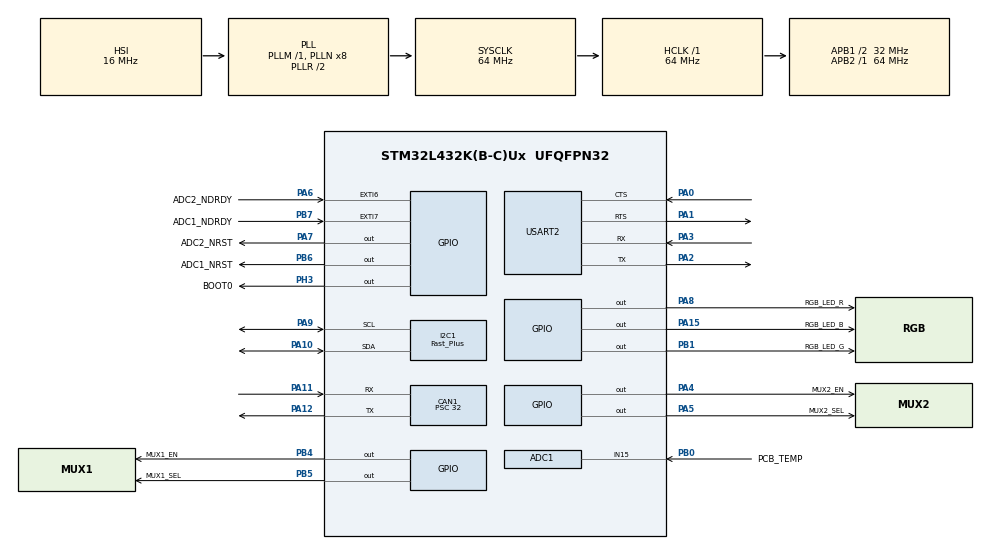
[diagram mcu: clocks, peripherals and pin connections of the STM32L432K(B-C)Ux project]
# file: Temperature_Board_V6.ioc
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ADC1.Channel-0\#ChannelRegularConversion=ADC_CHANNEL_15
ADC1.Channel-1\#ChannelRegularConversion=ADC_CHANNEL_VREFINT
ADC1.ClockPrescaler=ADC_CLOCK_ASYNC_DIV16
ADC1.ContinuousConvMode=DISABLE
ADC1.NbrOfConversion=2
ADC1.NbrOfConversionFlag=1
ADC1.OffsetNumber-0\#ChannelRegularConversion=ADC_OFFSET_NONE
ADC1.OffsetNumber-1\#ChannelRegularConversion=ADC_OFFSET_NONE
ADC1.Rank-0\#ChannelRegularConversion=1
ADC1.Rank-1\#ChannelRegularConversion=2
ADC1.Resolution=ADC_RESOLUTION_12B
ADC1.SamplingTime-0\#ChannelRegularConversion=ADC_SAMPLETIME_640CYCLES_5
ADC1.SamplingTime-1\#ChannelRegularConversion=ADC_SAMPLETIME_640CYCLES_5
ADC1.master=1
CAN1.ABOM=ENABLE
CAN1.AWUM=ENABLE
CAN1.BS1=CAN_BS1_5TQ
CAN1.BS2=CAN_BS2_2TQ
CAN1.CalculateBaudRate=125000
CAN1.CalculateTimeBit=8000
CAN1.CalculateTimeQuantum=1000.0
CAN1.Mode=CAN_MODE_NORMAL
CAN1.NART=ENABLE
CAN1.Prescaler=32
CAN1.RFLM=ENABLE
CAN1.TTCM=ENABLE
CAN1.TXFP=ENABLE
Dma.ADC1.0.Direction=DMA_PERIPH_TO_MEMORY
Dma.ADC1.0.Instance=DMA1_Channel1
Dma.ADC1.0.MemDataAlignment=DMA_MDATAALIGN_HALFWORD
Dma.ADC1.0.MemInc=DMA_MINC_ENABLE
Dma.ADC1.0.Mode=DMA_NORMAL
Dma.ADC1.0.PeriphDataAlignment=DMA_PDATAALIGN_HALFWORD
Dma.ADC1.0.PeriphInc=DMA_PINC_DISABLE
Dma.ADC1.0.Priority=DMA_PRIORITY_VERY_HIGH
Dma.Request0=ADC1
I2C1.Analog_Filter=I2C_ANALOGFILTER_DISABLE
I2C1.CustomTiming=Disabled
I2C1.GeneralCallMode=I2C_GENERALCALL_ENABLE
I2C1.I2C_Fall_Time=50
I2C1.I2C_Rise_Time=50
I2C1.I2C_Speed_Mode=I2C_Fast_Plus
I2C1.Speed=150
I2C1.Timing=0x00300CC0
Mcu.Family=STM32L4
Mcu.Name=STM32L432K(B-C)Ux
Mcu.Package=UFQFPN32
NVIC.ADC1_IRQn=true\:0\:0\:false\:false\:true\:true\:true\:true
NVIC.DMA1_Channel1_IRQn=true\:0\:0\:false\:false\:true\:false\:true\:true
NVIC.EXTI9_5_IRQn=true\:0\:0\:false\:false\:true\:true\:true\:true
NVIC.PriorityGroup=NVIC_PRIORITYGROUP_4
NVIC.TIM1_UP_TIM16_IRQn=true\:0\:0\:false\:false\:true\:true\:true\:true
PA0.Mode=CTS_RTS
PA0.Signal=USART2_CTS
PA1.Mode=CTS_RTS
PA1.Signal=USART2_RTS
PA10.Mode=I2C
PA10.Signal=I2C1_SDA
PA11.Mode=CAN_Activate
PA11.Signal=CAN1_RX
PA12.Mode=CAN_Activate
PA12.Signal=CAN1_TX
PA13\ (JTMS-SWDIO).GPIO_Label=SWDIO
PA13\ (JTMS-SWDIO).Mode=Trace_Asynchronous_SW
PA13\ (JTMS-SWDIO).Signal=SYS_JTMS-SWDIO
PA14\ (JTCK-SWCLK).GPIO_Label=SWCLK
PA14\ (JTCK-SWCLK).Mode=Trace_Asynchronous_SW
PA14\ (JTCK-SWCLK).Signal=SYS_JTCK-SWCLK
PA15\ (JTDI).GPIO_Label=RGB_LED_B
PA15\ (JTDI).PinState=GPIO_PIN_SET
PA15\ (JTDI).Signal=GPIO_Output
PA2.Mode=Asynchronous
PA2.Signal=USART2_TX
PA3.Mode=Asynchronous
PA3.Signal=USART2_RX
PA4.GPIO_Label=MUX2_EN
PA4.Signal=GPIO_Output
PA5.GPIO_Label=MUX2_SEL
PA5.Signal=GPIO_Output
PA6.GPIO_Label=ADC2_NDRDY
PA6.Signal=GPXTI6
PA7.GPIO_Label=ADC2_NRST
PA7.Signal=GPIO_Output
PA8.GPIO_Label=RGB_LED_R
PA8.PinState=GPIO_PIN_SET
PA8.Signal=GPIO_Output
PA9.Mode=I2C
PA9.Signal=I2C1_SCL
PB0.GPIO_Label=PCB_TEMP
PB0.Signal=ADCx_IN15
PB1.GPIO_Label=RGB_LED_G
PB1.PinState=GPIO_PIN_SET
PB1.Signal=GPIO_Output
PB3\ (JTDO-TRACESWO).GPIO_Label=TRACE_SWO
PB3\ (JTDO-TRACESWO).Mode=Trace_Asynchronous_SW
PB3\ (JTDO-TRACESWO).Signal=SYS_JTDO-SWO
PB4\ (NJTRST).GPIO_Label=MUX1_EN
PB4\ (NJTRST).Signal=GPIO_Output
PB5.GPIO_Label=MUX1_SEL
PB5.Signal=GPIO_Output
PB6.GPIO_Label=ADC1_NRST
PB6.Signal=GPIO_Output
PB7.GPIO_Label=ADC1_NDRDY
PB7.Signal=GPXTI7
PH3-BOOT0.GPIO_Label=BOOT0
PH3-BOOT0.Signal=GPIO_Output
ProjectManager.HeapSize=0x200
ProjectManager.StackSize=0x400
ProjectManager.TargetToolchain=STM32CubeIDE
RCC.ADCFreq_Value=64000000
RCC.AHBFreq_Value=64000000
RCC.APB1CLKDivider=RCC_HCLK_DIV2
RCC.APB1Freq_Value=32000000
RCC.APB1TimFreq_Value=64000000
RCC.APB2Freq_Value=64000000
RCC.APB2TimFreq_Value=64000000
RCC.CortexFreq_Value=64000000
RCC.HCLKFreq_Value=64000000
RCC.HSE_VALUE=8000000
RCC.HSI48_VALUE=48000000
RCC.HSI_VALUE=16000000
RCC.LSE_VALUE=32768
RCC.MSI_VALUE=4000000
RCC.PLLSourceVirtual=RCC_PLLSOURCE_HSI
RCC.SYSCLKFreq_VALUE=64000000
RCC.SYSCLKSource=RCC_SYSCLKSOURCE_PLLCLK
RCC.USBFreq_Value=64000000
RCC.VCOOutputFreq_Value=128000000
SH.ADCx_IN15.0=ADC1_IN15,IN15-Single-Ended
TIM1.Period=100 - 1
TIM1.Prescaler=64 - 1
USART2.VirtualMode-Asynchronous=VM_ASYNC
VP_ADC1_Vref_Input.Mode=IN-Vrefint
VP_TIM1_VS_ClockSourceINT.Mode=Internal
board=custom

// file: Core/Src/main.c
/* USER CODE BEGIN Header */
/**
 ******************************************************************************
 * @file           : main.c
 * @brief          : Main program body
 ******************************************************************************
 * @attention
 *
 * Copyright (c) 2023 STMicroelectronics.
 * All rights reserved.
 *
 * This software is licensed under terms that can be found in the LICENSE file
 * in the root directory of this software component.
 * If no LICENSE file comes with this software, it is provided AS-IS.
 *
 ******************************************************************************
 */
/* USER CODE END Header */
#include "main.h"

/* USER CODE BEGIN Includes */
#include "functions.h"
#include "constants.h"

#include "string.h"// For memset()

/* USER CODE END Includes */

ADC_HandleTypeDef hadc1;
DMA_HandleTypeDef hdma_adc1;

CAN_HandleTypeDef hcan1;

I2C_HandleTypeDef hi2c1;

TIM_HandleTypeDef htim1;

UART_HandleTypeDef huart2;

/* USER CODE BEGIN PV */

bool adc_error_flag = false;
bool tim_elapsed_flag = false;

CAN_TxHeaderTypeDef ptxHeader_temp_1_4;     // Temperature 1 - 4 header
CAN_TxHeaderTypeDef ptxHeader_temp_5_8;     // Temperature 5 - 8 header
CAN_TxHeaderTypeDef ptxHeader_temp_9_12;    // Temperature 9 - 12 header
CAN_TxHeaderTypeDef ptxHeader_temp_13_16;   // Temperature 13 - 16 header

uint8_t sortingIndexArray[16] = {0, 2, 5, 7, 1, 3, 4, 6, 8, 10, 13, 15, 9, 11, 12, 14};
uint8_t payload_temp_1_4[8] = { 0 };
uint8_t payload_temp_5_8[8] = { 0 };
uint8_t payload_temp_9_12[8] = { 0 };
uint8_t payload_temp_13_16[8] = { 0 };

uint32_t txMailbox;

// Temperature chart data
float tempData[141] = { 0.0, 0.5, 1.0, 1.5, 2.0, 2.5, 3.0, 3.5, 4.0, 4.5, 5.0,
		5.5, 6.0, 6.5, 7.0, 7.5, 8.0, 8.5, 9.0, 9.5, 10.0, 10.5, 11.0, 11.5,
		12.0, 12.5, 13.0, 13.5, 14.0, 14.5, 15.0, 15.5, 16.0, 16.5, 17.0, 17.5,
		18.0, 18.5, 19.0, 19.5, 20.0, 20.5, 21.0, 21.5, 22.0, 22.5, 23.0, 23.5,
		24.0, 24.5, 25.0, 25.5, 26.0, 26.5, 27.0, 27.5, 28.0, 28.5, 29.0, 29.5,
		30.0, 30.5, 31.0, 31.5, 32.0, 32.5, 33.0, 33.5, 34.0, 34.5, 35.0, 35.5,
		36.0, 36.5, 37.0, 37.5, 38.0, 38.5, 39.0, 39.5, 40.0, 40.5, 41.0, 41.5,
		42.0, 42.5, 43.0, 43.5, 44.0, 44.5, 45.0, 45.5, 46.0, 46.5, 47.0, 47.5,
		48.0, 48.5, 49.0, 49.5, 50.0, 50.5, 51.0, 51.5, 52.0, 52.5, 53.0, 53.5,
		54.0, 54.5, 55.0, 55.5, 56.0, 56.5, 57.0, 57.5, 58.0, 58.5, 59.0, 59.5,
		60.0, 60.5, 61.0, 61.5, 62.0, 62.5, 63.0, 63.5, 64.0, 64.5, 65.0, 65.5,
		66.0, 66.5, 67.0, 67.5, 68.0, 68.5, 69.0, 69.5, 70.0 };

float voltData[141] = { 0.096808f, 0.127701f, 0.158988f, 0.190666f, 0.222730f,
		0.255293f, 0.287996f, 0.321190f, 0.354751f, 0.388675f, 0.422955f,
		0.457586f, 0.492562f, 0.527876f, 0.563524f, 0.599496f, 0.635788f,
		0.672391f, 0.709298f, 0.746502f, 0.783994f, 0.821767f, 0.859812f,
		0.898121f, 0.936685f, 0.975495f, 1.014543f, 1.053818f, 1.093311f,
		1.133013f, 1.172914f, 1.213005f, 1.253275f, 1.293714f, 1.334313f,
		1.375060f, 1.415946f, 1.456960f, 1.498092f, 1.539331f, 1.580667f,
		1.622089f, 1.663586f, 1.705148f, 1.746765f, 1.788425f, 1.830119f,
		1.871835f, 1.913563f, 1.955294f, 1.997016f, 2.038719f, 2.080393f,
		2.122029f, 2.163615f, 2.205143f, 2.246604f, 2.287983f, 2.329276f,
		2.370487f, 2.411563f, 2.452539f, 2.493391f, 2.534110f, 2.574688f,
		2.615117f, 2.655388f, 2.695494f, 2.735426f, 2.775178f, 2.814742f,
		2.854111f, 2.893278f, 2.932235f, 2.970978f, 3.009499f, 3.047792f,
		3.085852f, 3.123673f, 3.161249f, 3.198575f, 3.235647f, 3.272459f,
		3.309007f, 3.345287f, 3.381294f, 3.417038f, 3.452475f, 3.487642f,
		3.522522f, 3.557112f, 3.591409f, 3.625411f, 3.659114f, 3.692518f,
		3.725619f, 3.758415f, 3.790906f, 3.823093f, 3.854963f, 3.886527f,
		3.917780f, 3.948721f, 3.979349f, 4.009664f, 4.039664f, 4.069351f,
		4.098724f, 4.127783f, 4.156528f, 4.184960f, 4.213077f, 4.240882f,
		4.268375f, 4.295557f, 4.322429f, 4.348991f, 4.375246f, 4.401193f,
		4.426834f, 4.452171f, 4.477216f, 4.501938f, 4.526371f, 4.550505f,
		4.574344f, 4.597887f, 4.621137f, 4.644097f, 4.666817f, 4.689153f,
		4.711253f, 4.733069f, 4.754604f, 4.775860f, 4.796837f, 4.817535f,
		4.837954f, 4.858086f, 4.877918f, 4.897422f };

float volt[16] = { 0 };

float oversamplingVoltages[ADC_OVERSAMPLING] = { 0 };
uint8_t oversampligStatus[ADC_OVERSAMPLING] = { 0 };

float oversamplingSum = 0.0f;
float temp[16] = { 0 };
uint16_t sortedTemp[16] = {0};

uint8_t tempChannelError[16] = { 0 }; //Array to store temperature errors (OK, UNDERVOLTAGE, OVERVOLTAGE)
uint8_t sizeVoltData = sizeof(voltData) / sizeof(voltData[0]);
uint8_t sizeTempData = sizeof(tempData) / sizeof(tempData[0]);

uint8_t ind = 0;

/* USER CODE END PV */

void SystemClock_Config(void);
static void MX_GPIO_Init(void);
static void MX_DMA_Init(void);
static void MX_I2C1_Init(void);
static void MX_USART2_UART_Init(void);
static void MX_ADC1_Init(void);
static void MX_CAN1_Init(void);
static void MX_TIM1_Init(void);

int main(void)
{

  /* MCU Configuration--------------------------------------------------------*/

  /* Reset of all peripherals, Initializes the Flash interface and the Systick. */
  HAL_Init();

  /* Configure the system clock */
  SystemClock_Config();

  /* Initialize all configured peripherals */
  MX_GPIO_Init();
  MX_DMA_Init();
  MX_I2C1_Init();
  MX_USART2_UART_Init();
  MX_ADC1_Init();
  MX_CAN1_Init();
  MX_TIM1_Init();
  /* USER CODE BEGIN 2 */

	// Start CAN Bus communication
	if (HAL_CAN_Start(&hcan1) != HAL_OK) {
		/* Start Error */
		Error_Handler();
	}

	// External ADC Setup
	// Set ADCs in reset mode
	HAL_GPIO_WritePin(ADC1_NRST_GPIO_Port, ADC1_NRST_Pin, GPIO_PIN_RESET);
	HAL_GPIO_WritePin(ADC2_NRST_GPIO_Port, ADC2_NRST_Pin, GPIO_PIN_RESET);
	HAL_Delay(25);

	// Set ADCs in NOT reset mode
	HAL_GPIO_WritePin(ADC1_NRST_GPIO_Port, ADC1_NRST_Pin, GPIO_PIN_SET);
	HAL_GPIO_WritePin(ADC2_NRST_GPIO_Port, ADC2_NRST_Pin, GPIO_PIN_SET);
	HAL_Delay(25);

	// MUXs setup
	// Set MUXs in NOT enabled mode
	HAL_GPIO_WritePin(MUX1_EN_GPIO_Port, MUX1_EN_Pin, GPIO_PIN_SET);
	HAL_GPIO_WritePin(MUX1_SEL_GPIO_Port, MUX1_SEL_Pin, GPIO_PIN_RESET);
	HAL_GPIO_WritePin(MUX2_EN_GPIO_Port, MUX2_EN_Pin, GPIO_PIN_SET);
	HAL_GPIO_WritePin(MUX2_SEL_GPIO_Port, MUX2_SEL_Pin, GPIO_PIN_RESET);

	// CAN Bus headers setup
	uint16_t canId = 0x100;
	if (SEGMENT_NUMBER == 1){
		canId = SEGMENT_1_CAN_ID;
	} else if (SEGMENT_NUMBER == 2){
		canId = SEGMENT_2_CAN_ID;
	} else if (SEGMENT_NUMBER == 3){
		canId = SEGMENT_3_CAN_ID;
	}
	// Header for temp 1 - 4
	ptxHeader_temp_1_4.IDE = CAN_ID_STD;
	ptxHeader_temp_1_4.RTR = CAN_RTR_DATA;
	ptxHeader_temp_1_4.StdId = canId;
	ptxHeader_temp_1_4.DLC = 8;

	// Header for temp 5 - 8
	ptxHeader_temp_5_8.IDE = CAN_ID_STD;
	ptxHeader_temp_5_8.RTR = CAN_RTR_DATA;
	ptxHeader_temp_5_8.StdId = canId + 1;
	ptxHeader_temp_5_8.DLC = 8;

	// Header for temp 9 - 12
	ptxHeader_temp_9_12.IDE = CAN_ID_STD;
	ptxHeader_temp_9_12.RTR = CAN_RTR_DATA;
	ptxHeader_temp_9_12.StdId = canId + 2;
	ptxHeader_temp_9_12.DLC = 8;

	// Header for temp 13 - 16
	ptxHeader_temp_13_16.IDE = CAN_ID_STD;
	ptxHeader_temp_13_16.RTR = CAN_RTR_DATA;
	ptxHeader_temp_13_16.StdId = canId + 3;
	ptxHeader_temp_13_16.DLC = 8;

	// RGB LED Check
	setLEDColor(LED_RGB_RED);
	HAL_Delay(500);
	setLEDColor(LED_RGB_GREEN);
	HAL_Delay(500);
	setLEDColor(LED_RGB_BLUE);
	HAL_Delay(500);
	setLEDColor(LED_RGB_OFF);

	// Assign relative ignore channel to the relative segment
	uint8_t tempChannelInformation[16] = {0}; //Array to store temperature values and channel infos (ENABLED or DISABLED)
	// Temp array 1 3 6 8 | 2 4 5 7 | 9 11 14 16 | 10 12 13 15
	uint8_t SEGMENT_1_IGNORE_CH[16] = {1, 1, 1, 1, 1, 1, 1, 1, 0, 0, 0, 0, 0, 0, 0, 0};
	uint8_t SEGMENT_2_IGNORE_CH[16] = {1, 1, 1, 1, 1, 1, 1, 1, 0, 1, 1, 0, 0, 1, 1, 0};
	uint8_t SEGMENT_3_IGNORE_CH[16] = {1, 1, 0, 0, 1, 1, 0, 0, 0, 0, 1, 1, 0, 0, 0, 1};

	if (SEGMENT_NUMBER == 1){
		memcpy(tempChannelInformation, SEGMENT_1_IGNORE_CH, 16 * sizeof(uint8_t));
	} else if (SEGMENT_NUMBER == 2){
		memcpy(tempChannelInformation, SEGMENT_2_IGNORE_CH, 16 * sizeof(uint8_t));
	} else if (SEGMENT_NUMBER == 3){
		memcpy(tempChannelInformation, SEGMENT_3_IGNORE_CH, 16 * sizeof(uint8_t));
	}

	// Check that Data Ready pin is HIGH
	// HAL_GPIO_ReadPin(ADC1_NDRDY_GPIO_Port, ADC1_NDRDY_Pin) == GPIO_PIN_SET;

	// Scan for I2C Devices
	uint8_t allI2CDevices[128] = { 0 };
	scanForI2CDevices(&hi2c1, allI2CDevices);
	if (areDevicesReady(allI2CDevices))
	{
		// If all devices are ready soft reset ADC1 and ADC2
		if ((ADCSoftwareReset(&hi2c1, 1) == I2C_ADC_OK) && (ADCSoftwareReset(&hi2c1, 2) == I2C_ADC_OK))
		{
			// If no error occurred during software reset continue with setup reading memory

			for (uint8_t j = 0; j < 2; j++)
			{
				// Loop Checking and starting both ADCs

				// Memory variables
				int16_t memoryReg[4] = { 0x00FF, 0x00FF, 0x00FF, 0x00FF };
				uint8_t memoryErr[4] = { 0 };

				for (uint8_t i = 0; i < 4; i++) {
					memoryErr[i] = ADCGetRegistersValue(&hi2c1, j+1, i, &memoryReg[i]);
				}

				// Check default memory registers value and error occurred during reading
				if ((memoryReg[0] == 0) && (memoryReg[1] == 0)
						&& (memoryReg[2] == 0) && (memoryReg[3] == 0)
						&& (memoryErr[0] == I2C_ADC_OK)
						&& (memoryErr[1] == I2C_ADC_OK)
						&& (memoryErr[2] == I2C_ADC_OK)
						&& (memoryErr[3] == I2C_ADC_OK)) {

					// Set ADC Register 0x00 with the following configuration -> 0x01
					// PGA_BYPASS -> 0b1     	: Disabled and bypassed
					// GAIN 		-> 0b0     	: Gain = 1 (default)
					// MUX 		-> 0b0000  	: AINP = AIN0, AINN = AIN1 (default)

					// Set ADC Register 0x01 with the following configuration -> 0x6C
					// TS 		-> 0b0	   	: Temperature sensor mode disabled (default)
					// VREF		-> 0b11		: Analog supply (AVDD – AVSS) used as reference
					// CM 		-> 0b0		: Single-shot conversion mode (default)
					// MODE       -> 0b1      : Turbo mode (512-kHz modulator clock)
					// DR         -> 0b100    : 2000 SPS

					// Set ADC Register 0x02 with the following configuration -> 0x00
					// IDAC       -> 0b000    : Off (default)
					// BCS        -> 0b0      : Current sources off (default)
					// CRC        -> 0b00     : Disabled (default)
					// DCNT       -> 0b00		: Conversion counter disabled (default)
					// DRDY		-> 0b0		: No new conversion result available (default)

					// Set ADC Register 0x03 with he following configuration -> 0x00
					// RESERVED   -> 0b00		: Always write 0
					// I2MUX		-> 0b000	: IDAC2 disabled (default)
					// I1MUX      -> 0b000	: IDAC1 disabled (default)

					uint8_t retValues[4] = { 0xFF, 0xFF, 0xFF, 0xFF };
					retValues[0] = ADCSetRegistersValue(&hi2c1, j + 1, 0x00, REG_0_DEFAULT);
					retValues[1] = ADCSetRegistersValue(&hi2c1, j + 1, 0x01, REG_1_DEFAULT);
					retValues[2] = ADCSetRegistersValue(&hi2c1, j + 1, 0x02, REG_2_DEFAULT);
					retValues[3] = ADCSetRegistersValue(&hi2c1, j + 1, 0x03, REG_3_DEFAULT);

					// Check return data to evaluate some errors
					for (uint8_t i = 0; i < 4; i++) {
						if (retValues[i] != I2C_ADC_OK) {
							adc_error_flag = true;
						}
					}

					// Default configuration finished

					// Optional measurements
					// getADCInternalTemperature(&hi2c1, &htim1, 1, &temperature, &tim_elapsed_flag);
					// getADCReferenceVoltage(&hi2c1, &htim1, 1, &voltage, &tim_elapsed_flag);
				} else {
					// Else loop toggling the RED LED
					adc_error_flag = true;
				}
			}

			if (!adc_error_flag) {
				setLEDColor(LED_RGB_GREEN);
			}
			// Add different delay for each segment number
			if (SEGMENT_NUMBER == 2){
				HAL_Delay(50);
			} else if (SEGMENT_NUMBER == 3){
				HAL_Delay(100);
			}

			// Set mux enable to LOW to enable sensors and start with SEL pin LOW
			HAL_GPIO_WritePin(MUX1_EN_GPIO_Port, MUX1_EN_Pin, GPIO_PIN_RESET);
			HAL_GPIO_WritePin(MUX1_SEL_GPIO_Port, MUX1_SEL_Pin, GPIO_PIN_RESET);
			HAL_GPIO_WritePin(MUX2_EN_GPIO_Port, MUX2_EN_Pin, GPIO_PIN_RESET);
			HAL_GPIO_WritePin(MUX2_SEL_GPIO_Port, MUX2_SEL_Pin, GPIO_PIN_RESET);
			HAL_Delay(50);

		} else {
			// Else loop toggling the RED LED
			adc_error_flag = true;
		}

	} else {
		// Else loop toggling the RED LED
		adc_error_flag = true;
	}

  /* USER CODE END 2 */

  /* Infinite loop */
  /* USER CODE BEGIN WHILE */
	while (1) {

		if (adc_error_flag) {
			// Add special can message
			setLEDColor(LED_RGB_RED);
			HAL_Delay(500);
			setLEDColor(LED_RGB_OFF);
			HAL_Delay(500);
		} else {

			// Starting measurement of temperatures NTC 1, 3, 6 and 8 for ADC1 and 9, 11, 14 and 16 for ADC2

			// For debug purposes turn ON the blue led while the green led is ON
			setLEDColor(LED_RGB_GREEN);

			// Loop twice for both adcs
			for (uint8_t k = 0; k < 2; k++){

				for (uint8_t j = 0; j < 4; j++) {
					oversamplingSum = 0.0f;
					for (uint8_t i = 0; i < ADC_OVERSAMPLING; i++) {
						//HAL_Delay(10);
						getADCChannelVoltage(&hi2c1, &htim1, k + 1, j, &oversamplingVoltages[i], &tim_elapsed_flag);
						oversamplingSum += oversamplingVoltages[i];
					}

					// Evaluate the correct index
					// for j = 0, 1, 2, 3
					// k = 0 -> ADC 1 -> 0, 1, 2, 3
					// k = 1 -> ADC 2 -> 8, 9, 10, 11
					ind = j + (8 * k);

					// Evaluate the average of oversampling data
					volt[ind] = oversamplingSum / ADC_OVERSAMPLING;

					// Evaluate if some error occurred
					if (tempChannelInformation[ind] == TEMP_CH_DIS) {
						tempChannelError[ind] = TEMP_ERR_IGNORE;
					} else if (volt[ind] <= ADC_MIN_VOLTAGE) {
						tempChannelError[ind] = TEMP_ERR_UV;
					} else if (volt[ind] >= ADC_MAX_VOLTAGE) {
						tempChannelError[ind] = TEMP_ERR_OV;
					} else {
						tempChannelError[ind] = TEMP_ERR_OK;
					}

					linearInterpolation(tempData, sizeTempData, voltData, sizeVoltData, volt[ind], &temp[ind]);
				}
			}

			// Starting measurement of temperatures NTC 2, 4, 5 and 7 for ADC1 and 10, 12, 13 and 15 for ADC2
			HAL_GPIO_TogglePin(MUX1_SEL_GPIO_Port, MUX1_SEL_Pin);
			HAL_GPIO_TogglePin(MUX2_SEL_GPIO_Port, MUX2_SEL_Pin);

			HAL_Delay(10);

			// For debug purposes turn OFF the blue led while the green led is ON
			setLEDColor(LED_RGB_OFF);

			// Loop twice for both adcs
			for (uint8_t k = 0; k < 2; k++){

				for (uint8_t j = 0; j < 4; j++) {
					oversamplingSum = 0.0f;
					//HAL_Delay(10);
					for (uint8_t i = 0; i < ADC_OVERSAMPLING; i++) {
						getADCChannelVoltage(&hi2c1, &htim1, k + 1, j, &oversamplingVoltages[i], &tim_elapsed_flag);
						oversamplingSum += oversamplingVoltages[i];
					}

					// Evaluate the correct index
					// for j = 0, 1, 2, 3
					// k = 0 -> ADC 1 -> 4, 5, 6, 7
					// k = 1 -> ADC 2 -> 12, 13, 14, 15

					ind = j + (8 * k) + 4;

					// Evaluate the average of oversampling data
					volt[ind] = oversamplingSum / ADC_OVERSAMPLING;

					// Evaluate if some error occurred
					if (tempChannelInformation[ind] == TEMP_CH_DIS) {
						tempChannelError[ind] = TEMP_ERR_IGNORE;
					} else if (volt[ind] <= ADC_MIN_VOLTAGE) {
						tempChannelError[ind] = TEMP_ERR_UV;
					} else if (volt[ind] >= ADC_MAX_VOLTAGE) {
						tempChannelError[ind] = TEMP_ERR_OV;
					} else {
						tempChannelError[ind] = TEMP_ERR_OK;
					}

					linearInterpolation(tempData, sizeTempData, voltData, sizeVoltData, volt[ind], &temp[ind]);

				}
			}
			// Temp array 1 3 6 8 | 2 4 5 7 | 9 11 14 16 | 10 12 13 15

			// Sorting temps
			for (uint8_t i = 0; i < 16; i++){
				//sortedTemp[i] = sortTemperatures(sortingIndexArray[i], temp, tempChannelError, 100);
				sortedTemp[sortingIndexArray[i]] = sortTemperatures(i, temp, tempChannelError, 100);
			}

			// Filling CAN arrays
			payload_temp_1_4[0] = (uint8_t) (sortedTemp[0] >> 8);
			payload_temp_1_4[1] = (uint8_t) sortedTemp[0];
			payload_temp_1_4[2] = (uint8_t) (sortedTemp[1] >> 8);
			payload_temp_1_4[3] = (uint8_t) sortedTemp[1];
			payload_temp_1_4[4] = (uint8_t) (sortedTemp[2] >> 8);
			payload_temp_1_4[5] = (uint8_t) sortedTemp[2];
			payload_temp_1_4[6] = (uint8_t) (sortedTemp[3] >> 8);
			payload_temp_1_4[7] = (uint8_t) sortedTemp[3];

			payload_temp_5_8[0] = (uint8_t) (sortedTemp[4] >> 8);
			payload_temp_5_8[1] = (uint8_t) sortedTemp[4];
			payload_temp_5_8[2] = (uint8_t) (sortedTemp[5] >> 8);
			payload_temp_5_8[3] = (uint8_t) sortedTemp[5];
			payload_temp_5_8[4] = (uint8_t) (sortedTemp[6] >> 8);
			payload_temp_5_8[5] = (uint8_t) sortedTemp[6];
			payload_temp_5_8[6] = (uint8_t) (sortedTemp[7] >> 8);
			payload_temp_5_8[7] = (uint8_t) sortedTemp[7];

			payload_temp_9_12[0] = (uint8_t) (sortedTemp[8] >> 8);
			payload_temp_9_12[1] = (uint8_t) sortedTemp[8];
			payload_temp_9_12[2] = (uint8_t) (sortedTemp[9] >> 8);
			payload_temp_9_12[3] = (uint8_t) sortedTemp[9];
			payload_temp_9_12[4] = (uint8_t) (sortedTemp[10] >> 8);
			payload_temp_9_12[5] = (uint8_t) sortedTemp[10];
			payload_temp_9_12[6] = (uint8_t) (sortedTemp[11] >> 8);
			payload_temp_9_12[7] = (uint8_t) sortedTemp[11];

			payload_temp_13_16[0] = (uint8_t) (sortedTemp[12] >> 8);
			payload_temp_13_16[1] = (uint8_t) sortedTemp[12];
			payload_temp_13_16[2] = (uint8_t) (sortedTemp[13] >> 8);
			payload_temp_13_16[3] = (uint8_t) sortedTemp[13];
			payload_temp_13_16[4] = (uint8_t) (sortedTemp[14] >> 8);
			payload_temp_13_16[5] = (uint8_t) sortedTemp[14];
			payload_temp_13_16[6] = (uint8_t) (sortedTemp[15] >> 8);
			payload_temp_13_16[7] = (uint8_t) sortedTemp[15];

			HAL_CAN_AddTxMessage(&hcan1, &ptxHeader_temp_1_4, payload_temp_1_4, &txMailbox);
			HAL_Delay(5);
			HAL_CAN_AddTxMessage(&hcan1, &ptxHeader_temp_5_8, payload_temp_5_8, &txMailbox);
			HAL_Delay(5);
			HAL_CAN_AddTxMessage(&hcan1, &ptxHeader_temp_9_12, payload_temp_9_12, &txMailbox);
			HAL_Delay(5);
			HAL_CAN_AddTxMessage(&hcan1, &ptxHeader_temp_13_16, payload_temp_13_16, &txMailbox);
			// Index:          0   1   2   3   4   5   6   7
			// Payload 1-4  : T01 T01 T02 T02 T03 T03 T04 T04
			// Payload 5-8  : T05 T05 T06 T06 T07 T07 T08 T08
			// Payload 9-12 : T09 T09 T10 T10 T11 T11 T12 T12
			// Payload 13-16: T13 T13 T14 T14 T15 T15 T16 T16

			HAL_Delay(200);

			HAL_GPIO_TogglePin(MUX1_SEL_GPIO_Port, MUX1_SEL_Pin);
			HAL_GPIO_TogglePin(MUX2_SEL_GPIO_Port, MUX2_SEL_Pin);

			HAL_Delay(10); //If filters are used set to 50ms
		}

    /* USER CODE END WHILE */

	}
}

void SystemClock_Config(void)
{
  RCC_OscInitTypeDef RCC_OscInitStruct = {0};
  RCC_ClkInitTypeDef RCC_ClkInitStruct = {0};

  /** Configure the main internal regulator output voltage
  */
  if (HAL_PWREx_ControlVoltageScaling(PWR_REGULATOR_VOLTAGE_SCALE1) != HAL_OK)
  {
    Error_Handler();
  }

  /** Initializes the RCC Oscillators according to the specified parameters
  * in the RCC_OscInitTypeDef structure.
  */
  RCC_OscInitStruct.OscillatorType = RCC_OSCILLATORTYPE_HSI;
  RCC_OscInitStruct.HSIState = RCC_HSI_ON;
  RCC_OscInitStruct.HSICalibrationValue = RCC_HSICALIBRATION_DEFAULT;
  RCC_OscInitStruct.PLL.PLLState = RCC_PLL_ON;
  RCC_OscInitStruct.PLL.PLLSource = RCC_PLLSOURCE_HSI;
  RCC_OscInitStruct.PLL.PLLM = 1;
  RCC_OscInitStruct.PLL.PLLN = 8;
  RCC_OscInitStruct.PLL.PLLP = RCC_PLLP_DIV7;
  RCC_OscInitStruct.PLL.PLLQ = RCC_PLLQ_DIV2;
  RCC_OscInitStruct.PLL.PLLR = RCC_PLLR_DIV2;
  if (HAL_RCC_OscConfig(&RCC_OscInitStruct) != HAL_OK)
  {
    Error_Handler();
  }

  /** Initializes the CPU, AHB and APB buses clocks
  */
  RCC_ClkInitStruct.ClockType = RCC_CLOCKTYPE_HCLK|RCC_CLOCKTYPE_SYSCLK
                              |RCC_CLOCKTYPE_PCLK1|RCC_CLOCKTYPE_PCLK2;
  RCC_ClkInitStruct.SYSCLKSource = RCC_SYSCLKSOURCE_PLLCLK;
  RCC_ClkInitStruct.AHBCLKDivider = RCC_SYSCLK_DIV1;
  RCC_ClkInitStruct.APB1CLKDivider = RCC_HCLK_DIV2;
  RCC_ClkInitStruct.APB2CLKDivider = RCC_HCLK_DIV1;

  if (HAL_RCC_ClockConfig(&RCC_ClkInitStruct, FLASH_LATENCY_3) != HAL_OK)
  {
    Error_Handler();
  }
}

static void MX_ADC1_Init(void)
{

  ADC_ChannelConfTypeDef sConfig = {0};

  /** Common config
  */
  hadc1.Instance = ADC1;
  hadc1.Init.ClockPrescaler = ADC_CLOCK_ASYNC_DIV16;
  hadc1.Init.Resolution = ADC_RESOLUTION_12B;
  hadc1.Init.DataAlign = ADC_DATAALIGN_RIGHT;
  hadc1.Init.ScanConvMode = ADC_SCAN_ENABLE;
  hadc1.Init.EOCSelection = ADC_EOC_SINGLE_CONV;
  hadc1.Init.LowPowerAutoWait = DISABLE;
  hadc1.Init.ContinuousConvMode = DISABLE;
  hadc1.Init.NbrOfConversion = 2;
  hadc1.Init.DiscontinuousConvMode = DISABLE;
  hadc1.Init.ExternalTrigConv = ADC_SOFTWARE_START;
  hadc1.Init.ExternalTrigConvEdge = ADC_EXTERNALTRIGCONVEDGE_NONE;
  hadc1.Init.DMAContinuousRequests = DISABLE;
  hadc1.Init.Overrun = ADC_OVR_DATA_PRESERVED;
  hadc1.Init.OversamplingMode = DISABLE;
  if (HAL_ADC_Init(&hadc1) != HAL_OK)
  {
    Error_Handler();
  }

  /** Configure Regular Channel
  */
  sConfig.Channel = ADC_CHANNEL_15;
  sConfig.Rank = ADC_REGULAR_RANK_1;
  sConfig.SamplingTime = ADC_SAMPLETIME_640CYCLES_5;
  sConfig.SingleDiff = ADC_SINGLE_ENDED;
  sConfig.OffsetNumber = ADC_OFFSET_NONE;
  sConfig.Offset = 0;
  if (HAL_ADC_ConfigChannel(&hadc1, &sConfig) != HAL_OK)
  {
    Error_Handler();
  }

  /** Configure Regular Channel
  */
  sConfig.Channel = ADC_CHANNEL_VREFINT;
  sConfig.Rank = ADC_REGULAR_RANK_2;
  if (HAL_ADC_ConfigChannel(&hadc1, &sConfig) != HAL_OK)
  {
    Error_Handler();
  }

}

static void MX_CAN1_Init(void)
{

  hcan1.Instance = CAN1;
  hcan1.Init.Prescaler = 32;
  hcan1.Init.Mode = CAN_MODE_NORMAL;
  hcan1.Init.SyncJumpWidth = CAN_SJW_1TQ;
  hcan1.Init.TimeSeg1 = CAN_BS1_5TQ;
  hcan1.Init.TimeSeg2 = CAN_BS2_2TQ;
  hcan1.Init.TimeTriggeredMode = ENABLE;
  hcan1.Init.AutoBusOff = ENABLE;
  hcan1.Init.AutoWakeUp = ENABLE;
  hcan1.Init.AutoRetransmission = ENABLE;
  hcan1.Init.ReceiveFifoLocked = ENABLE;
  hcan1.Init.TransmitFifoPriority = ENABLE;
  if (HAL_CAN_Init(&hcan1) != HAL_OK)
  {
    Error_Handler();
  }

}

static void MX_I2C1_Init(void)
{

  hi2c1.Instance = I2C1;
  hi2c1.Init.Timing = 0x00300CC0;
  hi2c1.Init.OwnAddress1 = 0;
  hi2c1.Init.AddressingMode = I2C_ADDRESSINGMODE_7BIT;
  hi2c1.Init.DualAddressMode = I2C_DUALADDRESS_DISABLE;
  hi2c1.Init.OwnAddress2 = 0;
  hi2c1.Init.OwnAddress2Masks = I2C_OA2_NOMASK;
  hi2c1.Init.GeneralCallMode = I2C_GENERALCALL_ENABLE;
  hi2c1.Init.NoStretchMode = I2C_NOSTRETCH_DISABLE;
  if (HAL_I2C_Init(&hi2c1) != HAL_OK)
  {
    Error_Handler();
  }

  /** Configure Analogue filter
  */
  if (HAL_I2CEx_ConfigAnalogFilter(&hi2c1, I2C_ANALOGFILTER_DISABLE) != HAL_OK)
  {
    Error_Handler();
  }

  /** Configure Digital filter
  */
  if (HAL_I2CEx_ConfigDigitalFilter(&hi2c1, 0) != HAL_OK)
  {
    Error_Handler();
  }

  /** I2C Fast mode Plus enable
  */
  HAL_I2CEx_EnableFastModePlus(I2C_FASTMODEPLUS_I2C1);

}

static void MX_TIM1_Init(void)
{

  TIM_ClockConfigTypeDef sClockSourceConfig = {0};
  TIM_MasterConfigTypeDef sMasterConfig = {0};

  htim1.Instance = TIM1;
  htim1.Init.Prescaler = 64 - 1;
  htim1.Init.CounterMode = TIM_COUNTERMODE_UP;
  htim1.Init.Period = 100 - 1;
  htim1.Init.ClockDivision = TIM_CLOCKDIVISION_DIV1;
  htim1.Init.RepetitionCounter = 0;
  htim1.Init.AutoReloadPreload = TIM_AUTORELOAD_PRELOAD_DISABLE;
  if (HAL_TIM_Base_Init(&htim1) != HAL_OK)
  {
    Error_Handler();
  }
  sClockSourceConfig.ClockSource = TIM_CLOCKSOURCE_INTERNAL;
  if (HAL_TIM_ConfigClockSource(&htim1, &sClockSourceConfig) != HAL_OK)
  {
    Error_Handler();
  }
  sMasterConfig.MasterOutputTrigger = TIM_TRGO_RESET;
  sMasterConfig.MasterOutputTrigger2 = TIM_TRGO2_RESET;
  sMasterConfig.MasterSlaveMode = TIM_MASTERSLAVEMODE_DISABLE;
  if (HAL_TIMEx_MasterConfigSynchronization(&htim1, &sMasterConfig) != HAL_OK)
  {
    Error_Handler();
  }

}

static void MX_USART2_UART_Init(void)
{

  huart2.Instance = USART2;
  huart2.Init.BaudRate = 115200;
  huart2.Init.WordLength = UART_WORDLENGTH_8B;
  huart2.Init.StopBits = UART_STOPBITS_1;
  huart2.Init.Parity = UART_PARITY_NONE;
  huart2.Init.Mode = UART_MODE_TX_RX;
  huart2.Init.HwFlowCtl = UART_HWCONTROL_RTS_CTS;
  huart2.Init.OverSampling = UART_OVERSAMPLING_16;
  huart2.Init.OneBitSampling = UART_ONE_BIT_SAMPLE_DISABLE;
  huart2.AdvancedInit.AdvFeatureInit = UART_ADVFEATURE_NO_INIT;
  if (HAL_UART_Init(&huart2) != HAL_OK)
  {
    Error_Handler();
  }

}

static void MX_DMA_Init(void)
{

  /* DMA controller clock enable */
  __HAL_RCC_DMA1_CLK_ENABLE();

  /* DMA interrupt init */
  /* DMA1_Channel1_IRQn interrupt configuration */
  HAL_NVIC_SetPriority(DMA1_Channel1_IRQn, 0, 0);
  HAL_NVIC_EnableIRQ(DMA1_Channel1_IRQn);

}

static void MX_GPIO_Init(void)
{
  GPIO_InitTypeDef GPIO_InitStruct = {0};

  /* GPIO Ports Clock Enable */
  __HAL_RCC_GPIOA_CLK_ENABLE();
  __HAL_RCC_GPIOB_CLK_ENABLE();
  __HAL_RCC_GPIOH_CLK_ENABLE();

  /*Configure GPIO pin Output Level */
  HAL_GPIO_WritePin(GPIOA, MUX2_EN_Pin|MUX2_SEL_Pin|ADC2_NRST_Pin, GPIO_PIN_RESET);

  /*Configure GPIO pin Output Level */
  HAL_GPIO_WritePin(RGB_LED_G_GPIO_Port, RGB_LED_G_Pin, GPIO_PIN_SET);

  /*Configure GPIO pin Output Level */
  HAL_GPIO_WritePin(GPIOA, RGB_LED_R_Pin|RGB_LED_B_Pin, GPIO_PIN_SET);

  /*Configure GPIO pin Output Level */
  HAL_GPIO_WritePin(GPIOB, MUX1_EN_Pin|MUX1_SEL_Pin|ADC1_NRST_Pin, GPIO_PIN_RESET);

  /*Configure GPIO pin Output Level */
  HAL_GPIO_WritePin(BOOT0_GPIO_Port, BOOT0_Pin, GPIO_PIN_RESET);

  /*Configure GPIO pins : MUX2_EN_Pin MUX2_SEL_Pin ADC2_NRST_Pin RGB_LED_R_Pin
                           RGB_LED_B_Pin */
  GPIO_InitStruct.Pin = MUX2_EN_Pin|MUX2_SEL_Pin|ADC2_NRST_Pin|RGB_LED_R_Pin
                          |RGB_LED_B_Pin;
  GPIO_InitStruct.Mode = GPIO_MODE_OUTPUT_PP;
  GPIO_InitStruct.Pull = GPIO_NOPULL;
  GPIO_InitStruct.Speed = GPIO_SPEED_FREQ_LOW;
  HAL_GPIO_Init(GPIOA, &GPIO_InitStruct);

  /*Configure GPIO pin : ADC2_NDRDY_Pin */
  GPIO_InitStruct.Pin = ADC2_NDRDY_Pin;
  GPIO_InitStruct.Mode = GPIO_MODE_IT_RISING;
  GPIO_InitStruct.Pull = GPIO_NOPULL;
  HAL_GPIO_Init(ADC2_NDRDY_GPIO_Port, &GPIO_InitStruct);

  /*Configure GPIO pins : RGB_LED_G_Pin MUX1_EN_Pin MUX1_SEL_Pin ADC1_NRST_Pin */
  GPIO_InitStruct.Pin = RGB_LED_G_Pin|MUX1_EN_Pin|MUX1_SEL_Pin|ADC1_NRST_Pin;
  GPIO_InitStruct.Mode = GPIO_MODE_OUTPUT_PP;
  GPIO_InitStruct.Pull = GPIO_NOPULL;
  GPIO_InitStruct.Speed = GPIO_SPEED_FREQ_LOW;
  HAL_GPIO_Init(GPIOB, &GPIO_InitStruct);

  /*Configure GPIO pin : ADC1_NDRDY_Pin */
  GPIO_InitStruct.Pin = ADC1_NDRDY_Pin;
  GPIO_InitStruct.Mode = GPIO_MODE_IT_RISING;
  GPIO_InitStruct.Pull = GPIO_NOPULL;
  HAL_GPIO_Init(ADC1_NDRDY_GPIO_Port, &GPIO_InitStruct);

  /*Configure GPIO pin : BOOT0_Pin */
  GPIO_InitStruct.Pin = BOOT0_Pin;
  GPIO_InitStruct.Mode = GPIO_MODE_OUTPUT_PP;
  GPIO_InitStruct.Pull = GPIO_NOPULL;
  GPIO_InitStruct.Speed = GPIO_SPEED_FREQ_LOW;
  HAL_GPIO_Init(BOOT0_GPIO_Port, &GPIO_InitStruct);

  /* EXTI interrupt init*/
  HAL_NVIC_SetPriority(EXTI9_5_IRQn, 0, 0);
  HAL_NVIC_EnableIRQ(EXTI9_5_IRQn);

}

/* USER CODE BEGIN 4 */

/**

 @brief  Period elapsed callback in non blocking mode
 @note   This function is called  when TIM6 interrupt took place, inside
 HAL_TIM_IRQHandler(). It makes a direct call to HAL_IncTick() to increment
 a global variable "uwTick" used as application time base.
 @param  htim : TIM handle
 @retval None
 */

void HAL_TIM_PeriodElapsedCallback(TIM_HandleTypeDef *htim) {
	// USER CODE BEGIN Callback 0 /

	// USER CODE END Callback 0 /

	// USER CODE BEGIN Callback 1 /
	tim_elapsed_flag = true;
	HAL_TIM_Base_Stop(&htim1);
	// USER CODE END Callback 1 */
}

/* USER CODE END 4 */

void Error_Handler(void)
{
  /* USER CODE BEGIN Error_Handler_Debug */
	/* User can add his own implementation to report the HAL error return state */
	__disable_irq();
	while (1) {
		setLEDColor(LED_RGB_RED);
		HAL_Delay(500);
		setLEDColor(LED_RGB_OFF);
		HAL_Delay(500);

	}
  /* USER CODE END Error_Handler_Debug */
}
